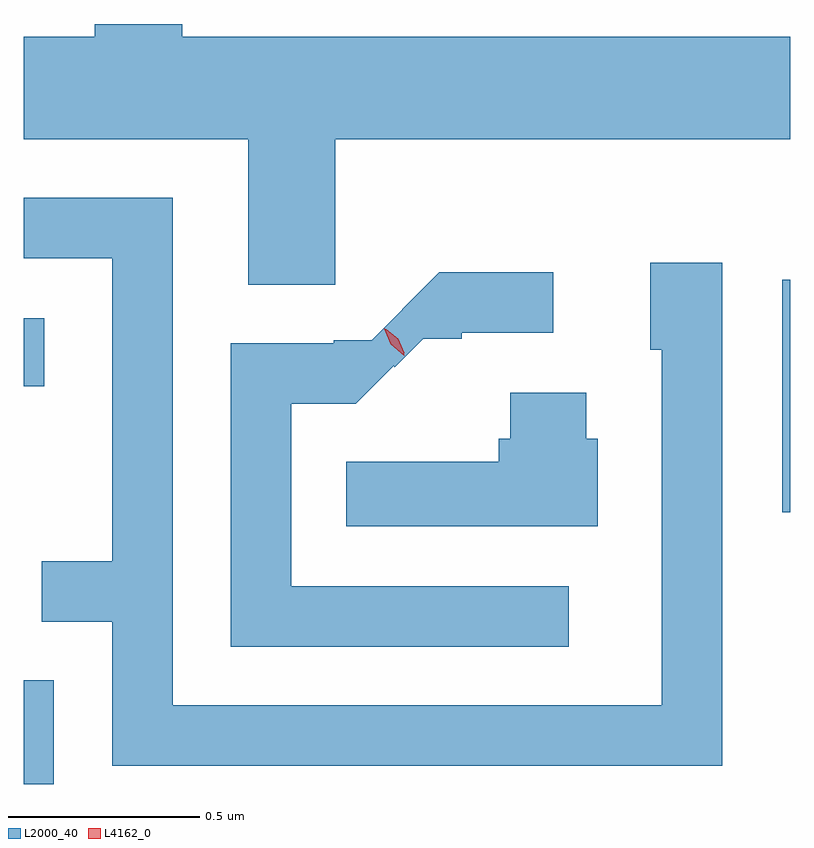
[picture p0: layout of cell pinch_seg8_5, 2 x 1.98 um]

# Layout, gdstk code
import gdstk
lib = gdstk.Library(unit=1e-6, precision=1e-09)
def R(c, l, rs):  # rectangles x0, y0, x1, y1
    for r in rs: c.add(gdstk.rectangle(r[:2], r[2:], *l))
def P(c, l, *ps):  # polygons
    for p in ps: c.add(gdstk.Polygon(p, *l))
L2000_40 = (2000, 40)
L4162_0 = (4162, 0)

pinch_seg8_5 = lib.new_cell('pinch_seg8_5')
R(pinch_seg8_5, L2000_40, [(1128.666,1825.853,1128.744,1826.124), (1130.646,1826.563,1130.666,1827.169), (1128.666,1826.891,1128.719,1827.069)])
P(pinch_seg8_5, L2000_40, [(1129.479,1827.536),(1130.666,1827.536),(1130.666,1827.804),(1129.079,1827.804),(1129.079,1827.837),(1128.851,1827.837),(1128.851,1827.804),(1128.666,1827.804),(1128.666,1827.536),(1129.251,1827.536),(1129.251,1827.156),(1129.479,1827.156)],
  [(1130.489,1827.214),(1130.301,1827.214),(1130.301,1826.986),(1130.331,1826.986),(1130.331,1826.059),(1129.054,1826.059),(1129.054,1827.384),(1128.666,1827.384),(1128.666,1827.226),(1128.896,1827.226),(1128.896,1826.434),(1128.713,1826.434),(1128.713,1826.276),(1128.896,1826.276),(1128.896,1825.901),(1130.489,1825.901)],
  [(1130.088,1826.369),(1129.364,1826.369),(1129.364,1826.846),(1129.532,1826.846),(1129.631,1826.945),(1129.634,1826.941),(1129.708,1827.015),(1129.809,1827.015),(1129.809,1827.031),(1130.048,1827.031),(1130.048,1827.189),(1129.75,1827.189),(1129.653,1827.092),(1129.654,1827.091),(1129.574,1827.011),(1129.475,1827.011),(1129.475,1827.004),(1129.206,1827.004),(1129.206,1826.211),(1130.088,1826.211)],
  [(1130.164,1826.754),(1130.134,1826.754),(1130.134,1826.874),(1129.936,1826.874),(1129.936,1826.754),(1129.906,1826.754),(1129.906,1826.694),(1129.508,1826.694),(1129.508,1826.526),(1130.164,1826.526)])
P(pinch_seg8_5, L4162_0, [(1129.659,1826.971),(1129.624,1827.001),(1129.606,1827.042),(1129.606,1827.043),(1129.606,1827.043),(1129.641,1827.013),(1129.659,1826.972),(1129.659,1826.971)],
  [(1129.658,1826.978),(1129.627,1827.003),(1129.611,1827.039),(1129.611,1827.04),(1129.612,1827.04),(1129.643,1827.015),(1129.659,1826.979),(1129.659,1826.978)])

lib.write_gds('pinch_seg8_5.gds')
